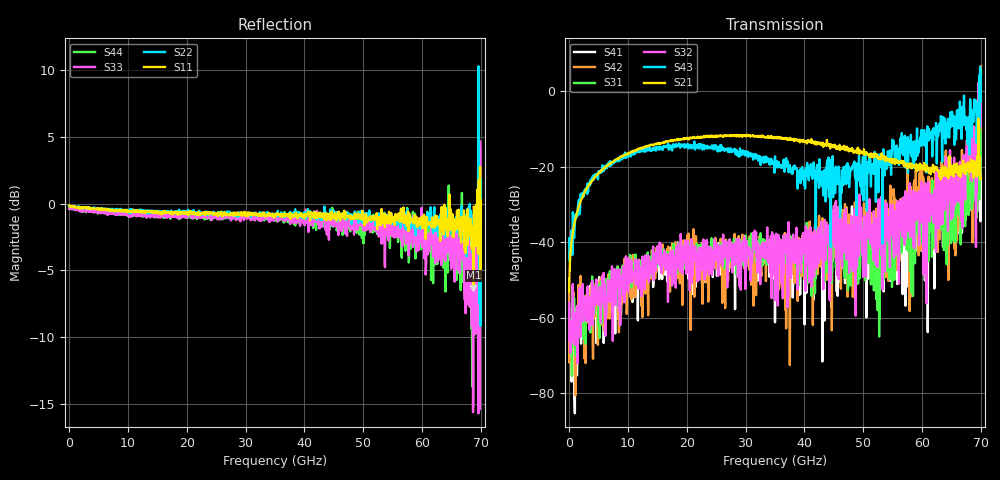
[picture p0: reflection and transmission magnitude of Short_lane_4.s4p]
!Pstart = -2.000000E+001
!Pstop = -1.000000E+001
!Pstep = 2.564103E-001
! 4/30/2026 12:50:17 PM
! C:\ANRITSUVNA\TEMP\TEMP.S4P
! CHANNEL.1
! TR.MEASUREMENT
! CORRECTED.DATA
! RF.CORRECTION: FULL.FOUR.PORT.CAL.PORT.1.2.3.4
! AVERAGING.OFF
! IF.BANDWIDTH: 100HZ
! SWEEPTYPE:  FREQ.SWEEP(Linear)
! Reference Plane Port Info
! DISTANCE:  0  m  0  m  0  m  0  m
! TIME:  0  s  0  s  0  s  0  s
! PHASE.OFFSET:  0 °  0 °  0 °  0 °
! LOSS:  0  dB  0  dB  0  dB  0  dB
! REF.LOSS:  0  dB  0  dB  0  dB  0  dB
! REF.FREQ:  0  Hz  0  Hz  0  Hz  0  Hz
! Power Info
! POWER:  -20  dBm  -20  dBm  -20  dBm  -20  dBm
! EFF.POWER:  -20  dBm  -20  dBm  -40  dBm  -40  dBm
! SOURCE.ATTEN:  0  dB  0  dB  20  dB  20  dB
! TEST.ATTEN:  0  dB  0  dB  20  dB  20  dB
! Created with skrf 1.9.0 (http://scikit-rf.org).
# Hz S RI R 50.0
!freq ReS11 ImS11 ReS12 ImS12 ReS13 ImS13
! ReS14 ImS14
! ReS21 ImS21 ReS22 ImS22 ReS23 ImS23
! ReS24 ImS24
! ReS31 ImS31 ReS32 ImS32 ReS33 ImS33
! ReS34 ImS34
! ReS41 ImS41 ReS42 ImS42 ReS43 ImS43
! ReS44 ImS44
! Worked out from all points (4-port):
!   1001 points, 10 MHz to 70 GHz, reference 50 ohm
!   strongest paths, dB at 10 MHz, 17.51 GHz, 35.01 GHz, 52.5 GHz, 70 GHz:
!     S21: -53.2, -13.3, -12.5, -17.5, -23.1
!     S43: -39.0, -15.7, -17.3, -19.5, -2.8
!     S32: -56.1, -51.5, -55.5, -42.8, -2.5
!     S31: -63.3, -44.0, -43.5, -38.7, -16.3
!     S42: -53.8, -40.3, -42.7, -37.5, 6.6
!     S41: -57.4, -42.0, -61.2, -35.2, -18.3
!   lowest |S11| = -6.3 dB at 68.74 GHz (marker M1), VSWR 2.89, Z = 85.7 + j63.4 ohm
!   |S11| at or under -10 dB: nowhere
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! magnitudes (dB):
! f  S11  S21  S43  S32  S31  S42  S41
! 10 MHz  -0.1  -53.2  -39.0  -56.1  -63.3  -53.8  -57.4
! 3.16 GHz  -0.3  -25.5  -24.5  -51.7  -58.1  -55.6  -60.7
! 13.94 GHz  -0.6  -14.3  -15.9  -48.5  -44.7  -45.5  -45.2
! 51.1 GHz  -1.2  -17.5  -20.2  -29.1  -35.5  -39.2  -35.6
! 60.48 GHz  -1.6  -20.8  -14.0  -31.7  -31.2  -28.0  -50.1
! 68.74 GHz  -6.3  -22.9  -8.0  -15.8  -24.5  -22.7  -26.4
! 70 GHz  0.2  -23.1  -2.8  -2.5  -16.3  6.6  -18.3
